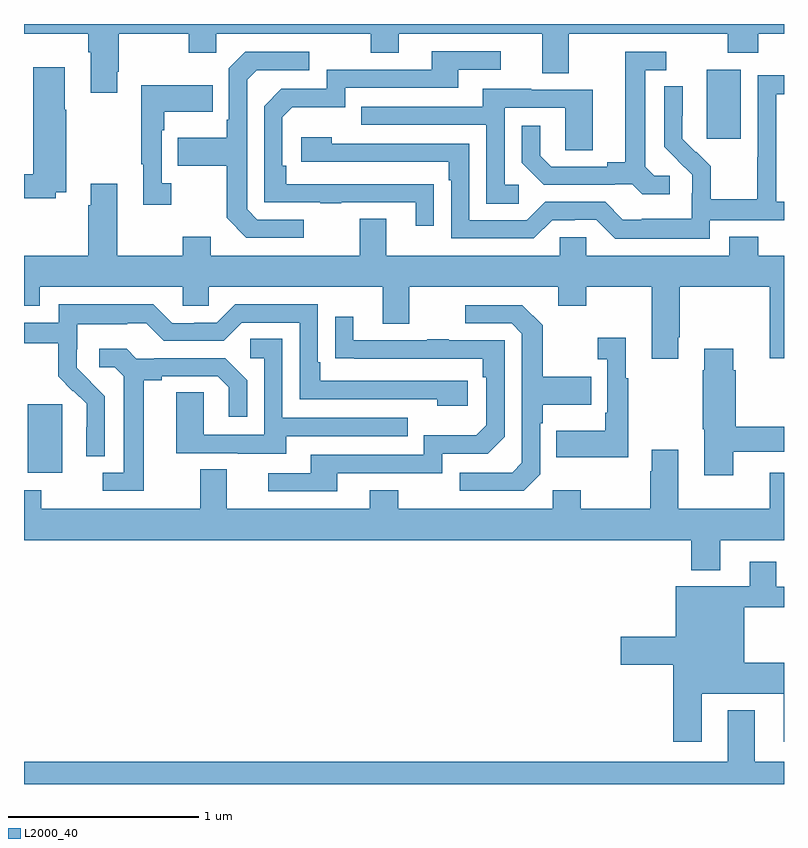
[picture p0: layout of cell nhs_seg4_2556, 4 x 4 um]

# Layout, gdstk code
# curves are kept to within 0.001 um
import gdstk
lib = gdstk.Library(unit=1e-6, precision=1e-09)
def R(c, l, rs):  # rectangles x0, y0, x1, y1
    for r in rs: c.add(gdstk.rectangle(r[:2], r[2:], *l))
def P(c, l, *ps):  # polygons
    for p in ps: c.add(gdstk.Polygon(p, *l))
L2000_40 = (2000, 40)

nhs_seg4_2556 = lib.new_cell('nhs_seg4_2556')
R(nhs_seg4_2556, L2000_40, [(245.021,766.538,245.2,766.899), (248.594,768.297,248.773,768.658)])
P(nhs_seg4_2556, L2000_40, [(245.491,768.649),(245.499,768.649),(245.499,768.848),(245.866,768.848),(245.866,768.749),(246.012,768.749),(246.012,768.848),(246.826,768.848),(246.826,768.749),(246.973,768.749),(246.973,768.848),(247.727,768.848),(247.727,768.64),(247.867,768.64),(247.867,768.848),(248.704,768.848),(248.704,768.749),(248.864,768.749),(248.864,768.848),(249,768.848),(249,768.9),(245,768.9),(245,768.848),(245.339,768.848),(245.339,768.752),(245.351,768.752),(245.351,768.537),(245.491,768.537)],
  [(247.157,768.056),(246.38,768.057),(246.38,768.154),(246.36,768.154),(246.36,768.408),(246.413,768.461),(246.69,768.461),(246.69,768.564),(247.285,768.564),(247.285,768.66),(247.51,768.66),(247.51,768.756),(247.145,768.756),(247.145,768.66),(246.594,768.66),(246.594,768.558),(246.354,768.558),(246.264,768.468),(246.264,767.961),(246.559,767.961),(246.559,767.956),(246.671,767.956),(246.671,767.961),(247.061,767.961),(247.061,767.838),(247.157,767.838)],
  [(246.472,767.871),(246.228,767.871),(246.174,767.925),(246.174,768.606),(246.225,768.657),(246.502,768.657),(246.502,768.753),(246.165,768.753),(246.078,768.666),(246.078,768.397),(246.066,768.397),(246.066,768.301),(245.809,768.301),(245.809,768.154),(246.066,768.154),(246.066,767.881),(246.171,767.775),(246.472,767.775)],
  [(248.398,768.102),(248.316,768.102),(248.269,768.149),(248.269,768.657),(248.38,768.657),(248.38,768.753),(248.165,768.753),(248.165,768.173),(248.069,768.173),(248.069,768.15),(247.774,768.15),(247.717,768.207),(247.717,768.364),(247.62,768.364),(247.62,768.17),(247.736,768.054),(248.108,768.054),(248.108,768.057),(248.202,768.057),(248.254,768.005),(248.398,768.005)],
  [(245.166,768.014),(245.223,768.014),(245.223,768.449),(245.215,768.449),(245.215,768.673),(245.048,768.673),(245.048,768.11),(245,768.11),(245,767.982),(245.166,767.982)],
  [(248.61,767.868),(249,767.868),(249,767.964),(248.958,767.964),(248.958,768.531),(249,768.531),(249,768.63),(248.862,768.63),(248.862,768.2),(248.86,768.2),(248.86,767.977),(248.615,767.977),(248.615,768.151),(248.538,768.228),(248.535,768.225),(248.465,768.296),(248.466,768.572),(248.37,768.572),(248.37,768.254),(248.516,768.106),(248.516,768.009),(248.514,768.009),(248.514,767.875),(248.251,767.875),(248.251,767.871),(248.151,767.871),(248.058,767.964),(247.743,767.964),(247.647,767.868),(247.344,767.868),(247.344,768.27),(246.62,768.27),(246.62,768.304),(246.459,768.304),(246.459,768.174),(247.235,768.174),(247.235,768.077),(247.248,768.077),(247.248,767.772),(247.683,767.772),(247.779,767.868),(247.898,767.868),(247.898,767.871),(248.013,767.871),(248.113,767.771),(248.61,767.771)],
  [(245.776,768.062),(245.724,768.062),(245.724,768.341),(245.737,768.341),(245.737,768.437),(245.993,768.437),(245.993,768.577),(245.616,768.577),(245.616,768.161),(245.627,768.161),(245.627,767.949),(245.776,767.949)],
  [(247.603,768.054),(247.53,768.054),(247.53,768.459),(247.848,768.459),(247.848,768.235),(247.993,768.235),(247.993,768.555),(247.669,768.555),(247.669,768.559),(247.415,768.559),(247.415,768.465),(246.775,768.465),(246.775,768.369),(247.434,768.369),(247.434,767.953),(247.603,767.953)],
  [(248.443,767.251),(248.451,767.251),(248.451,767.516),(248.924,767.516),(248.924,767.142),(249,767.142),(249,767.68),(248.864,767.68),(248.864,767.779),(248.711,767.779),(248.711,767.68),(247.959,767.68),(247.959,767.778),(247.821,767.778),(247.821,767.68),(246.907,767.68),(246.907,767.875),(246.767,767.875),(246.767,767.68),(245.983,767.68),(245.983,767.779),(245.836,767.779),(245.836,767.68),(245.491,767.68),(245.491,768.058),(245.351,768.058),(245.351,767.945),(245.339,767.945),(245.339,767.68),(245,767.68),(245,767.417),(245.083,767.417),(245.083,767.516),(245.835,767.516),(245.835,767.418),(245.973,767.418),(245.973,767.516),(246.887,767.516),(246.887,767.322),(247.027,767.322),(247.027,767.516),(247.811,767.516),(247.811,767.417),(247.959,767.417),(247.959,767.516),(248.303,767.516),(248.303,767.139),(248.443,767.139)],
  [(245.424,766.942),(245.278,767.09),(245.278,767.187),(245.28,767.187),(245.28,767.321),(245.543,767.321),(245.543,767.325),(245.643,767.325),(245.736,767.232),(246.051,767.232),(246.147,767.328),(246.45,767.328),(246.45,766.926),(247.175,766.926),(247.175,766.892),(247.336,766.892),(247.336,767.022),(246.559,767.022),(246.559,767.119),(246.546,767.119),(246.546,767.424),(246.111,767.424),(246.015,767.328),(245.897,767.328),(245.897,767.325),(245.781,767.325),(245.681,767.425),(245.184,767.425),(245.184,767.328),(245,767.328),(245,767.22),(245.179,767.22),(245.179,767.045),(245.256,766.968),(245.259,766.971),(245.33,766.901),(245.33,766.778),(245.328,766.778),(245.328,766.624),(245.424,766.624)],
  [(247.716,766.53),(247.716,766.799),(247.729,766.799),(247.729,766.895),(247.985,766.895),(247.985,767.043),(247.729,767.043),(247.729,767.315),(247.623,767.421),(247.323,767.421),(247.323,767.325),(247.566,767.325),(247.62,767.271),(247.62,766.59),(247.569,766.539),(247.293,766.539),(247.293,766.443),(247.629,766.443)],
  [(246.649,766.536),(247.2,766.536),(247.2,766.638),(247.44,766.638),(247.53,766.728),(247.53,767.235),(247.235,767.235),(247.235,767.24),(247.123,767.24),(247.123,767.235),(246.733,767.235),(246.733,767.359),(246.637,767.359),(246.637,767.14),(247.414,767.139),(247.414,767.042),(247.434,767.042),(247.434,766.788),(247.381,766.735),(247.104,766.735),(247.104,766.632),(246.509,766.632),(246.509,766.536),(246.285,766.536),(246.285,766.44),(246.649,766.44)],
  [(248.179,767.035),(248.167,767.035),(248.167,767.248),(248.019,767.248),(248.019,767.135),(248.07,767.135),(248.07,766.855),(248.058,766.855),(248.058,766.759),(247.801,766.759),(247.801,766.619),(248.179,766.619)],
  [(246.379,766.731),(247.019,766.731),(247.019,766.827),(246.36,766.827),(246.36,767.243),(246.192,767.243),(246.192,767.142),(246.264,767.142),(246.264,766.737),(245.946,766.737),(245.946,766.961),(245.801,766.961),(245.801,766.641),(246.125,766.641),(246.125,766.637),(246.379,766.637)],
  [(248.734,766.649),(249,766.649),(249,766.779),(248.747,766.779),(248.747,767.078),(248.734,767.078),(248.734,767.191),(248.579,767.191),(248.579,767.078),(248.572,767.078),(248.572,766.767),(248.579,766.767),(248.579,766.524),(248.734,766.524)],
  [(245.629,767.024),(245.725,767.024),(245.725,767.046),(246.02,767.046),(246.077,766.989),(246.077,766.833),(246.174,766.833),(246.174,767.026),(246.058,767.142),(245.686,767.142),(245.686,767.139),(245.592,767.139),(245.54,767.191),(245.397,767.191),(245.397,767.094),(245.478,767.094),(245.525,767.047),(245.525,766.539),(245.415,766.539),(245.415,766.443),(245.629,766.443)],
  [(248.665,766.184),(249,766.184),(249,766.537),(248.924,766.537),(248.924,766.348),(248.443,766.348),(248.443,766.66),(248.303,766.66),(248.303,766.547),(248.296,766.547),(248.296,766.348),(247.929,766.348),(247.929,766.447),(247.782,766.447),(247.782,766.348),(246.969,766.348),(246.969,766.447),(246.821,766.447),(246.821,766.348),(246.067,766.348),(246.067,766.556),(245.927,766.556),(245.927,766.348),(245.091,766.348),(245.091,766.447),(245,766.447),(245,766.184),(248.513,766.184),(248.513,766.025),(248.665,766.025)],
  [(248.566,765.374),(248.999,765.374),(248.999,765.123),(249,765.123),(249,765.538),(248.791,765.538),(248.791,765.831),(249,765.831),(249,765.939),(248.959,765.939),(248.959,766.069),(248.819,766.069),(248.819,765.94),(248.429,765.94),(248.429,765.674),(248.142,765.674),(248.142,765.527),(248.417,765.527),(248.417,765.123),(248.566,765.123)],
  [(249,765.016),(248.845,765.016),(248.845,765.289),(248.705,765.289),(248.705,765.016),(245,765.016),(245,764.9),(249,764.9)])

lib.write_gds('nhs_seg4_2556.gds')
